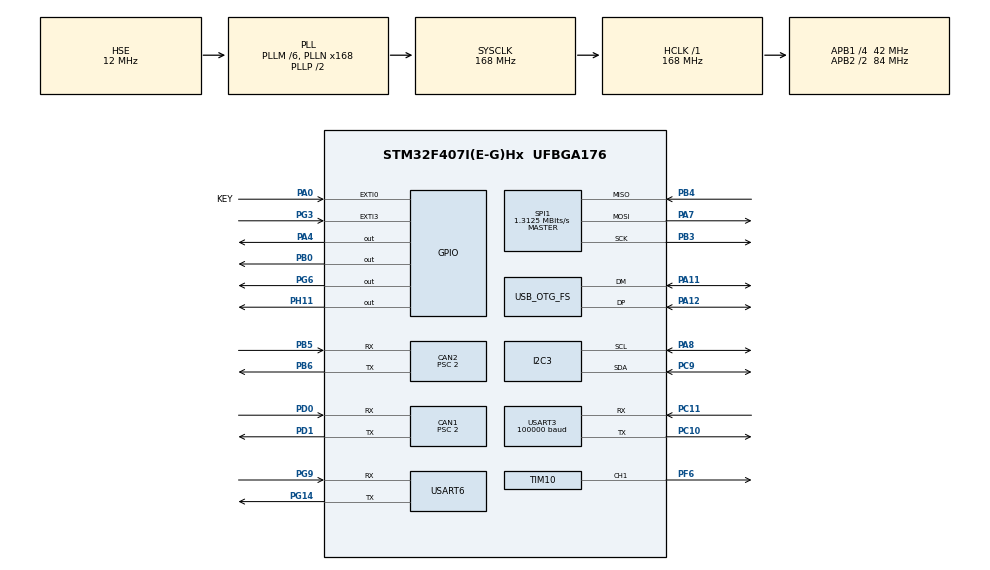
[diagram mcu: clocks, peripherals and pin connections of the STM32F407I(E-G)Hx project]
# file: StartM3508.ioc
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CAN1.ABOM=ENABLE
CAN1.AWUM=DISABLE
CAN1.BS1=CAN_BS1_15TQ
CAN1.BS2=CAN_BS2_5TQ
CAN1.CalculateBaudRate=1000000
CAN1.CalculateTimeBit=1000
CAN1.CalculateTimeQuantum=47.61904761904762
CAN1.NART=ENABLE
CAN1.Prescaler=2
CAN2.ABOM=DISABLE
CAN2.AWUM=DISABLE
CAN2.BS1=CAN_BS1_16TQ
CAN2.BS2=CAN_BS2_4TQ
CAN2.CalculateBaudRate=1000000
CAN2.CalculateTimeBit=1000
CAN2.CalculateTimeQuantum=47.61904761904762
CAN2.Prescaler=2
Dma.Request0=USART3_RX
Dma.Request1=USART6_RX
Dma.Request2=USART6_TX
Dma.Request3=SPI1_RX
Dma.Request4=SPI1_TX
Dma.SPI1_RX.3.Direction=DMA_PERIPH_TO_MEMORY
Dma.SPI1_RX.3.FIFOMode=DMA_FIFOMODE_DISABLE
Dma.SPI1_RX.3.Instance=DMA2_Stream2
Dma.SPI1_RX.3.MemDataAlignment=DMA_MDATAALIGN_BYTE
Dma.SPI1_RX.3.MemInc=DMA_MINC_ENABLE
Dma.SPI1_RX.3.Mode=DMA_NORMAL
Dma.SPI1_RX.3.PeriphDataAlignment=DMA_PDATAALIGN_BYTE
Dma.SPI1_RX.3.PeriphInc=DMA_PINC_DISABLE
Dma.SPI1_RX.3.Priority=DMA_PRIORITY_VERY_HIGH
Dma.SPI1_TX.4.Direction=DMA_MEMORY_TO_PERIPH
Dma.SPI1_TX.4.FIFOMode=DMA_FIFOMODE_DISABLE
Dma.SPI1_TX.4.Instance=DMA2_Stream3
Dma.SPI1_TX.4.MemDataAlignment=DMA_MDATAALIGN_BYTE
Dma.SPI1_TX.4.MemInc=DMA_MINC_ENABLE
Dma.SPI1_TX.4.Mode=DMA_NORMAL
Dma.SPI1_TX.4.PeriphDataAlignment=DMA_PDATAALIGN_BYTE
Dma.SPI1_TX.4.PeriphInc=DMA_PINC_DISABLE
Dma.SPI1_TX.4.Priority=DMA_PRIORITY_HIGH
Dma.USART3_RX.0.Direction=DMA_PERIPH_TO_MEMORY
Dma.USART3_RX.0.FIFOMode=DMA_FIFOMODE_DISABLE
Dma.USART3_RX.0.Instance=DMA1_Stream1
Dma.USART3_RX.0.MemDataAlignment=DMA_MDATAALIGN_BYTE
Dma.USART3_RX.0.MemInc=DMA_MINC_ENABLE
Dma.USART3_RX.0.Mode=DMA_CIRCULAR
Dma.USART3_RX.0.PeriphDataAlignment=DMA_PDATAALIGN_BYTE
Dma.USART3_RX.0.PeriphInc=DMA_PINC_DISABLE
Dma.USART3_RX.0.Priority=DMA_PRIORITY_HIGH
Dma.USART6_RX.1.Direction=DMA_PERIPH_TO_MEMORY
Dma.USART6_RX.1.FIFOMode=DMA_FIFOMODE_DISABLE
Dma.USART6_RX.1.Instance=DMA2_Stream1
Dma.USART6_RX.1.MemDataAlignment=DMA_MDATAALIGN_BYTE
Dma.USART6_RX.1.MemInc=DMA_MINC_ENABLE
Dma.USART6_RX.1.Mode=DMA_NORMAL
Dma.USART6_RX.1.PeriphDataAlignment=DMA_PDATAALIGN_BYTE
Dma.USART6_RX.1.PeriphInc=DMA_PINC_DISABLE
Dma.USART6_RX.1.Priority=DMA_PRIORITY_HIGH
Dma.USART6_TX.2.Direction=DMA_MEMORY_TO_PERIPH
Dma.USART6_TX.2.FIFOMode=DMA_FIFOMODE_DISABLE
Dma.USART6_TX.2.Instance=DMA2_Stream6
Dma.USART6_TX.2.MemDataAlignment=DMA_MDATAALIGN_BYTE
Dma.USART6_TX.2.MemInc=DMA_MINC_ENABLE
Dma.USART6_TX.2.Mode=DMA_CIRCULAR
Dma.USART6_TX.2.PeriphDataAlignment=DMA_PDATAALIGN_BYTE
Dma.USART6_TX.2.PeriphInc=DMA_PINC_DISABLE
Dma.USART6_TX.2.Priority=DMA_PRIORITY_HIGH
FREERTOS.Tasks01=defaultTask,-3,512,StartDefaultTask,Default,NULL ,Dynamic,NULL,NULL
FREERTOS.configMINIMAL_STACK_SIZE=512
FREERTOS.configTOTAL_HEAP_SIZE=40960
I2C3.I2C_Mode=I2C_Fast
Mcu.Family=STM32F4
Mcu.Name=STM32F407I(E-G)Hx
Mcu.Package=UFBGA176
NVIC.CAN1_RX0_IRQn=true\:5\:0\:false\:false\:true\:true\:true\:true\:true
NVIC.CAN1_RX1_IRQn=true\:5\:0\:false\:false\:true\:true\:true\:true\:true
NVIC.CAN2_RX0_IRQn=true\:5\:0\:false\:false\:true\:true\:true\:true\:true
NVIC.CAN2_RX1_IRQn=true\:5\:0\:false\:false\:true\:true\:true\:true\:true
NVIC.DMA1_Stream1_IRQn=true\:5\:0\:false\:false\:true\:true\:false\:true\:true
NVIC.DMA2_Stream1_IRQn=true\:5\:0\:false\:false\:true\:true\:false\:true\:true
NVIC.DMA2_Stream2_IRQn=true\:5\:0\:false\:false\:true\:false\:false\:true\:true
NVIC.DMA2_Stream3_IRQn=true\:5\:0\:false\:false\:true\:true\:false\:true\:true
NVIC.DMA2_Stream6_IRQn=true\:5\:0\:false\:false\:true\:true\:false\:true\:true
NVIC.OTG_FS_IRQn=true\:5\:0\:false\:false\:true\:true\:false\:true\:true
NVIC.PriorityGroup=NVIC_PRIORITYGROUP_4
NVIC.TIM1_UP_TIM10_IRQn=true\:5\:0\:false\:false\:true\:false\:false\:true\:true
NVIC.TIM2_IRQn=true\:15\:0\:false\:false\:true\:false\:false\:true\:true
NVIC.TimeBase=TIM2_IRQn
NVIC.TimeBaseIP=TIM2
NVIC.USART3_IRQn=true\:5\:0\:false\:false\:true\:true\:true\:true\:true
NVIC.USART6_IRQn=true\:5\:0\:false\:false\:true\:true\:true\:true\:true
PA0-WKUP.GPIO_Label=KEY
PA0-WKUP.GPIO_ModeDefaultEXTI=GPIO_MODE_IT_RISING_FALLING
PA0-WKUP.GPIO_PuPd=GPIO_PULLUP
PA0-WKUP.Signal=GPXTI0
PA10.Signal=USB_OTG_FS_ID
PA11.Mode=Device_Only
PA11.Signal=USB_OTG_FS_DM
PA12.Mode=Device_Only
PA12.Signal=USB_OTG_FS_DP
PA13.Mode=Serial_Wire
PA13.Signal=SYS_JTMS-SWDIO
PA14.Mode=Serial_Wire
PA14.Signal=SYS_JTCK-SWCLK
PA4.PinState=GPIO_PIN_SET
PA4.Signal=GPIO_Output
PA7.Mode=Full_Duplex_Master
PA7.Signal=SPI1_MOSI
PA8.Mode=I2C
PA8.Signal=I2C3_SCL
PB0.PinState=GPIO_PIN_SET
PB0.Signal=GPIO_Output
PB3.Mode=Full_Duplex_Master
PB3.Signal=SPI1_SCK
PB4.Mode=Full_Duplex_Master
PB4.Signal=SPI1_MISO
PB5.Mode=CAN_Activate
PB5.Signal=CAN2_RX
PB6.Mode=CAN_Activate
PB6.Signal=CAN2_TX
PC10.Mode=Asynchronous
PC10.Signal=USART3_TX
PC11.Mode=Asynchronous
PC11.Signal=USART3_RX
PC14-OSC32_IN.Mode=LSE-External-Oscillator
PC14-OSC32_IN.Signal=RCC_OSC32_IN
PC15-OSC32_OUT.Mode=LSE-External-Oscillator
PC15-OSC32_OUT.Signal=RCC_OSC32_OUT
PC9.Mode=I2C
PC9.Signal=I2C3_SDA
PD0.Mode=CAN_Activate
PD0.Signal=CAN1_RX
PD1.Mode=CAN_Activate
PD1.Signal=CAN1_TX
PF6.Signal=S_TIM10_CH1
PG14.Mode=Asynchronous
PG14.Signal=USART6_TX
PG3.GPIO_PuPd=GPIO_PULLUP
PG3.Signal=GPXTI3
PG6.GPIO_PuPd=GPIO_PULLUP
PG6.GPIO_Speed=GPIO_SPEED_FREQ_MEDIUM
PG6.PinState=GPIO_PIN_SET
PG6.Signal=GPIO_Output
PG9.Mode=Asynchronous
PG9.Signal=USART6_RX
PH0-OSC_IN.Mode=HSE-External-Oscillator
PH0-OSC_IN.Signal=RCC_OSC_IN
PH1-OSC_OUT.Mode=HSE-External-Oscillator
PH1-OSC_OUT.Signal=RCC_OSC_OUT
PH11.Signal=GPIO_Output
ProjectManager.HeapSize=0x200
ProjectManager.StackSize=0x400
ProjectManager.TargetToolchain=CMake
RCC.48MHZClocksFreq_Value=48000000
RCC.AHBFreq_Value=168000000
RCC.APB1CLKDivider=RCC_HCLK_DIV4
RCC.APB1Freq_Value=42000000
RCC.APB1TimFreq_Value=84000000
RCC.APB2CLKDivider=RCC_HCLK_DIV2
RCC.APB2Freq_Value=84000000
RCC.APB2TimFreq_Value=168000000
RCC.CortexFreq_Value=168000000
RCC.HCLKFreq_Value=168000000
RCC.HSE_VALUE=12000000
RCC.HSI_VALUE=16000000
RCC.PLLM=6
RCC.PLLN=168
RCC.PLLQ=7
RCC.SYSCLKFreq_VALUE=168000000
RCC.SYSCLKSource=RCC_SYSCLKSOURCE_PLLCLK
RCC.VCOOutputFreq_Value=336000000
SH.S_TIM10_CH1.0=TIM10_CH1,PWM Generation1 CH1
SPI1.BaudRatePrescaler=SPI_BAUDRATEPRESCALER_64
SPI1.CLKPhase=SPI_PHASE_2EDGE
SPI1.CLKPolarity=SPI_POLARITY_HIGH
SPI1.CRCCalculation=SPI_CRCCALCULATION_DISABLE
SPI1.CalculateBaudRate=1.3125 MBits/s
SPI1.Direction=SPI_DIRECTION_2LINES
SPI1.FirstBit=SPI_FIRSTBIT_MSB
SPI1.Mode=SPI_MODE_MASTER
SPI1.VirtualType=VM_MASTER
TIM10.Channel=TIM_CHANNEL_1
TIM10.Period=4999
USART3.BaudRate=100000
USART3.Mode=MODE_RX
USART3.Parity=PARITY_EVEN
USART3.VirtualMode=VM_ASYNC
USART6.VirtualMode=VM_ASYNC
USB_DEVICE.CLASS_NAME_FS=CDC
USB_DEVICE.VirtualMode-CDC_FS=Cdc
USB_DEVICE.VirtualModeFS=Cdc_FS
USB_OTG_FS.VirtualMode=Device_Only
VP_FREERTOS_VS_CMSIS_V1.Mode=CMSIS_V1
VP_SYS_VS_tim2.Mode=TIM2
VP_TIM10_VS_ClockSourceINT.Mode=Enable_Timer
VP_USB_DEVICE_VS_USB_DEVICE_CDC_FS.Mode=CDC_FS
board=custom

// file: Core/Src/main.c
/* USER CODE BEGIN Header */
/**
  ******************************************************************************
  * @file           : main.c
  * @brief          : Main program body
  ******************************************************************************
  * @attention
  *
  * Copyright (c) 2025 STMicroelectronics.
  * All rights reserved.
  *
  * This software is licensed under terms that can be found in the LICENSE file
  * in the root directory of this software component.
  * If no LICENSE file comes with this software, it is provided AS-IS.
  *
  ******************************************************************************
  */
/* USER CODE END Header */
#include "main.h"
#include "cmsis_os.h"
#include "can.h"
#include "dma.h"
#include "i2c.h"
#include "spi.h"
#include "tim.h"
#include "usart.h"
#include "usb_device.h"
#include "gpio.h"

/* USER CODE BEGIN Includes */
#include <stdio.h>
#include <string.h>
#include "bsp_can.h"
#include "bsp_dwt.h"
#include "speed_pid.h"
#include "usart_dma.h"
#include "dbus.h"
#include "usart_decode.h"
#include "ist8310driver.h"
#include "BMI088.h"
#include "ImuTempControl.h"
/* USER CODE END Includes */

void SystemClock_Config(void);
void MX_FREERTOS_Init(void);

int main(void)
{

  /* MCU Configuration--------------------------------------------------------*/

  /* Reset of all peripherals, Initializes the Flash interface and the Systick. */
  HAL_Init();

  /* Configure the system clock */
  SystemClock_Config();

  /* Initialize all configured peripherals */
  MX_GPIO_Init();
  MX_DMA_Init();
  MX_CAN1_Init();
  MX_USART3_UART_Init();
  MX_USART6_UART_Init();
  MX_CAN2_Init();
  MX_SPI1_Init();
  MX_I2C3_Init();
  MX_TIM10_Init();
  /* USER CODE BEGIN 2 */
  BSP_DWT_Init();
  BSP_CAN_Init();
  Uart_Init(&huart3, DBUS_Decode);
  Uart_Init(&huart6, MyUartCallback);
  /* USER CODE END 2 */

  /* Call init function for freertos objects (in cmsis_os2.c) */
  MX_FREERTOS_Init();

  /* Start scheduler */
  osKernelStart();

  /* We should never get here as control is now taken by the scheduler */

  /* Infinite loop */
  /* USER CODE BEGIN WHILE */
  while (1)
  {
    bsp_can2_djimotorcmd(0,0,0,0);
    DWT_Delay_ms(1);
    /* USER CODE END WHILE */

  }
}

void SystemClock_Config(void)
{
  RCC_OscInitTypeDef RCC_OscInitStruct = {0};
  RCC_ClkInitTypeDef RCC_ClkInitStruct = {0};

  /** Configure the main internal regulator output voltage
  */
  __HAL_RCC_PWR_CLK_ENABLE();
  __HAL_PWR_VOLTAGESCALING_CONFIG(PWR_REGULATOR_VOLTAGE_SCALE1);

  /** Initializes the RCC Oscillators according to the specified parameters
  * in the RCC_OscInitTypeDef structure.
  */
  RCC_OscInitStruct.OscillatorType = RCC_OSCILLATORTYPE_HSE;
  RCC_OscInitStruct.HSEState = RCC_HSE_ON;
  RCC_OscInitStruct.PLL.PLLState = RCC_PLL_ON;
  RCC_OscInitStruct.PLL.PLLSource = RCC_PLLSOURCE_HSE;
  RCC_OscInitStruct.PLL.PLLM = 6;
  RCC_OscInitStruct.PLL.PLLN = 168;
  RCC_OscInitStruct.PLL.PLLP = RCC_PLLP_DIV2;
  RCC_OscInitStruct.PLL.PLLQ = 7;
  if (HAL_RCC_OscConfig(&RCC_OscInitStruct) != HAL_OK)
  {
    Error_Handler();
  }

  /** Initializes the CPU, AHB and APB buses clocks
  */
  RCC_ClkInitStruct.ClockType = RCC_CLOCKTYPE_HCLK|RCC_CLOCKTYPE_SYSCLK
                              |RCC_CLOCKTYPE_PCLK1|RCC_CLOCKTYPE_PCLK2;
  RCC_ClkInitStruct.SYSCLKSource = RCC_SYSCLKSOURCE_PLLCLK;
  RCC_ClkInitStruct.AHBCLKDivider = RCC_SYSCLK_DIV1;
  RCC_ClkInitStruct.APB1CLKDivider = RCC_HCLK_DIV4;
  RCC_ClkInitStruct.APB2CLKDivider = RCC_HCLK_DIV2;

  if (HAL_RCC_ClockConfig(&RCC_ClkInitStruct, FLASH_LATENCY_5) != HAL_OK)
  {
    Error_Handler();
  }
}

void HAL_TIM_PeriodElapsedCallback(TIM_HandleTypeDef *htim)
{
  if (htim->Instance == TIM2)
  {
    HAL_IncTick();
  }
}

void Error_Handler(void)
{
  __disable_irq();
  while (1)
  {
  }
}

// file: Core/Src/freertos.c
/* USER CODE BEGIN Header */
/**
  ******************************************************************************
  * File Name          : freertos.c
  * Description        : Code for freertos applications
  ******************************************************************************
  * @attention
  *
  * Copyright (c) 2025 STMicroelectronics.
  * All rights reserved.
  *
  * This software is licensed under terms that can be found in the LICENSE file
  * in the root directory of this software component.
  * If no LICENSE file comes with this software, it is provided AS-IS.
  *
  ******************************************************************************
  */
/* USER CODE END Header */

#include "FreeRTOS.h"
#include "task.h"
#include "main.h"
#include "cmsis_os.h"

/* USER CODE BEGIN Includes */
extern void MotorTask_Init(void);
extern void MecanumTask_Init(void);
extern void OmniWheelTask_Init(void);
extern void MeasureHeroFourSpeedTask_Init(void);
extern void MeasureInfantryTwoSpeedTask_Init(void);
extern void KeyTask_Init(void);
extern void SwerveTask_Init(void);
extern void TargetCarTask_Init(void);
extern void MasterBoardTask_Init(void);
extern void SlaveBoardTask_Init(void);
extern void ImuTask_Init(void);
/* USER CODE END Includes */

osThreadId defaultTaskHandle;

void StartDefaultTask(void const * argument);

extern void MX_USB_DEVICE_Init(void);
void MX_FREERTOS_Init(void); /* (MISRA C 2004 rule 8.1) */

/* GetIdleTaskMemory prototype (linked to static allocation support) */
void vApplicationGetIdleTaskMemory( StaticTask_t **ppxIdleTaskTCBBuffer, StackType_t **ppxIdleTaskStackBuffer, uint32_t *pulIdleTaskStackSize );

/* USER CODE BEGIN GET_IDLE_TASK_MEMORY */
static StaticTask_t xIdleTaskTCBBuffer;
static StackType_t xIdleStack[configMINIMAL_STACK_SIZE];

void vApplicationGetIdleTaskMemory( StaticTask_t **ppxIdleTaskTCBBuffer, StackType_t **ppxIdleTaskStackBuffer, uint32_t *pulIdleTaskStackSize )
{
  *ppxIdleTaskTCBBuffer = &xIdleTaskTCBBuffer;
  *ppxIdleTaskStackBuffer = &xIdleStack[0];
  *pulIdleTaskStackSize = configMINIMAL_STACK_SIZE;
  /* place for user code */
}
/* USER CODE END GET_IDLE_TASK_MEMORY */

void MX_FREERTOS_Init(void) {

  /* Create the thread(s) */
  /* definition and creation of defaultTask */
  osThreadDef(defaultTask, StartDefaultTask, osPriorityIdle, 0, 512);
  defaultTaskHandle = osThreadCreate(osThread(defaultTask), NULL );

  /* USER CODE BEGIN RTOS_THREADS */
  /* add threads, ... */
  //电机驱动任务
  //MotorTask_Init();

  //主板任务
  //MasterBoardTask_Init();

  //IMU任务
  //ImuTask_Init();

  //各类底盘任务
  MecanumTask_Init();
  //OmniWheelTask_Init();
  //SwerveTask_Init();
  //TargetCarTask_Init();

  //弹速测量任务
  //MeasureHeroFourSpeedTask_Init();
  //MeasureInfantryTwoSpeedTask_Init();

  //串口通信任务

  //按键任务
  //KeyTask_Init();

  /* USER CODE END RTOS_THREADS */

}

void StartDefaultTask(void const * argument)
{
  /* init code for USB_DEVICE */
  MX_USB_DEVICE_Init();
  for(;;)
  {
    osDelay(1);
  }
}
